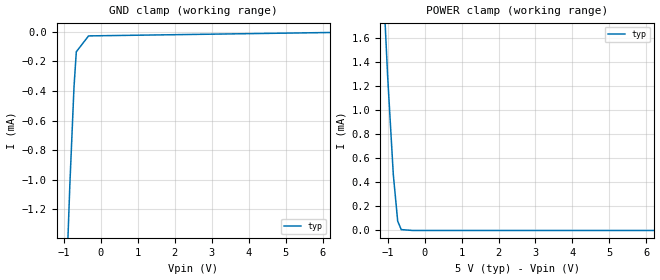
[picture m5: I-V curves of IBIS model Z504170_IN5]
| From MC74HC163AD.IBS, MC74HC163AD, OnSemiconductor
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| (C) COPYRIGHT 1993-2000
| MENTOR GRAPHICS CORPORATION
| ICX STANDARD LIBRARY, ICX PROJECT MODELING,
| ICX CUSTOM MODELING, ICX VENDOR MODEL
| ALL RIGHTS RESERVED.
| THE FOLLOWING ARE TRADEMARKS OR SERVICE MARKS OF
| MENTOR GRAPHICS CORPORATION:ICX (R), ICX STANDARD
| LIBRARY(R), ICX PROJECT MODELING(R), ICX CUSTOM
| MODELING(R), qualityIBIS(TM), MODELVIEWER(TM),
| AND MODELEDITOR(TM)
| ALL COPIES OF SOFTWARE, INCLUDING BUT NOT LIMITED TO
| ANY MODIFICATIONS, ENHANCEMENTS OR DERIVATIVE WORKS,
| MUST CONTAIN ALL MENTOR GRAPHICS CORPORATION'S
| NOTICES AND LEGENDS, INCLUDING THOSE EMBEDDED IN
| SOFTWARE AND THOSE AFFIXED TO SOFTWARE MEDIUM
| AND CONTAINER, AS RECEIVED FROM MENTOR GRAPHICS
| CORPORATION.
| Model Application Version 1.89 2/18/99.
[Model] Z504170_IN5
Model_type Input
Vinl = 1.000V
Vinh = 3.500V
C_comp 4.000pF NA NA
| variable typ   min   max
[Voltage Range] 5.000V NA NA
[GND Clamp Reference] 0.000V NA NA
[POWER Clamp Reference] 5.000V NA NA
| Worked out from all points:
|   GND clamp passes 1 mA (typ) near -0.83 V on its own axis
|   POWER clamp passes 1 mA (typ) near -0.95 V on its own axis
[GND Clamp]
-5V       -32.38mA   NA         NA
-1.044V   -2.465mA   NA         NA
-839.3mV  -1.034mA   NA         NA
-727.5mV  -374.9uA   NA         NA
-664.8mV  -134.5uA   NA         NA
-332.4mV  -27.28uA   NA         NA
10V       9.035uA    NA         NA
[POWER Clamp]
-5V       30.87mA    NA         NA
-1.392V   3.956mA    NA         NA
-1.093V   1.878mA    NA         NA
-1V       1.279mA    NA         NA
-847mV    463.5uA    NA         NA
-729mV    78.53uA    NA         NA
-634mV    7.376uA    NA         NA
-317mV    0A         NA         NA
10V       0A         NA         NA
